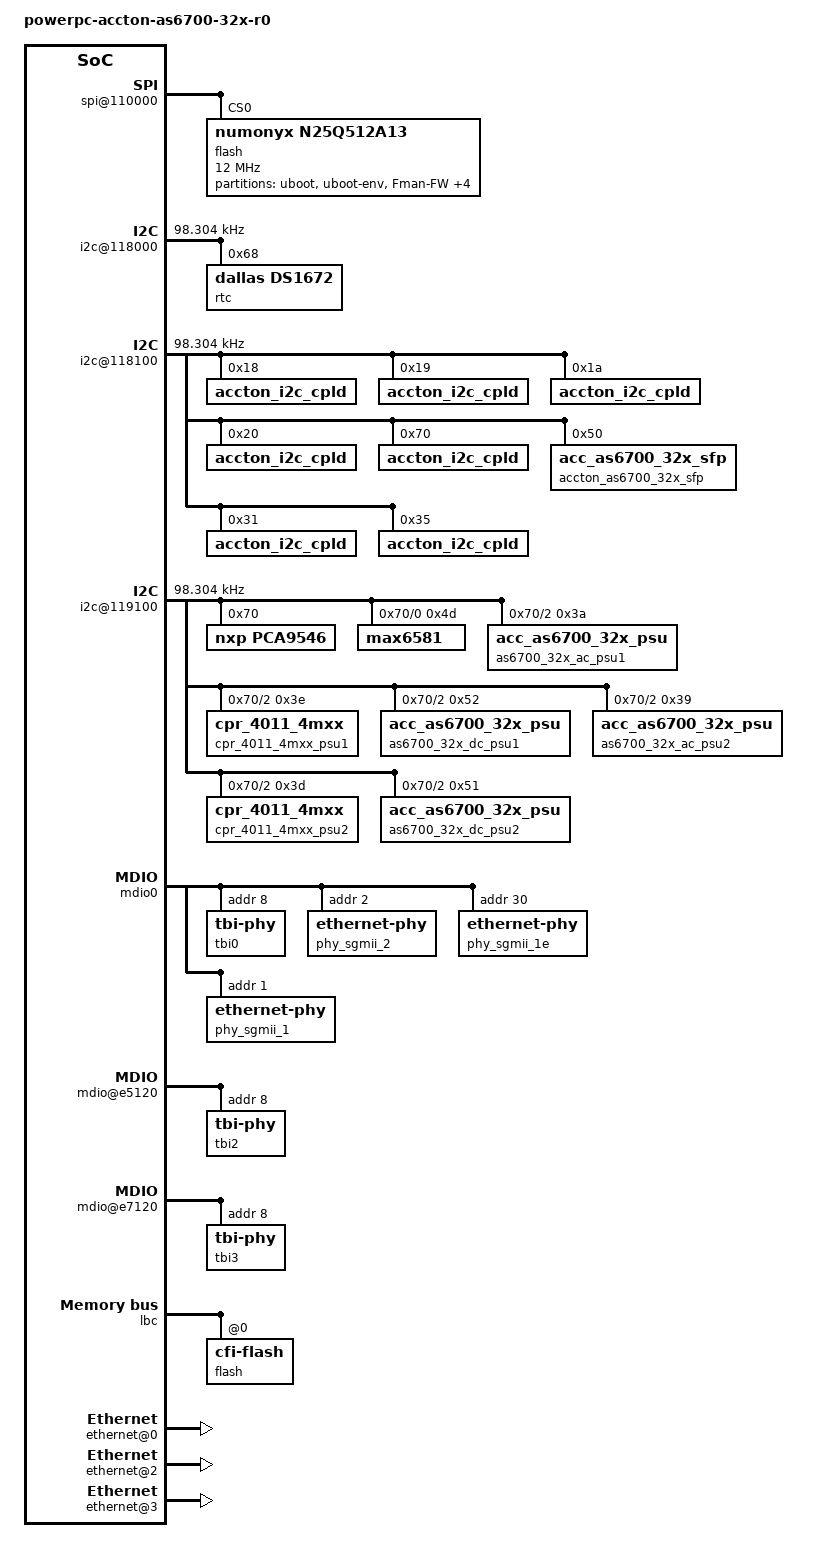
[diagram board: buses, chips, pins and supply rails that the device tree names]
/*
 * P2041RDB Device Tree Source
 *
 * Copyright 2011-2012 Freescale Semiconductor Inc.
 *
 * Redistribution and use in source and binary forms, with or without
 * modification, are permitted provided that the following conditions are met:
 *     * Redistributions of source code must retain the above copyright
 *	 notice, this list of conditions and the following disclaimer.
 *     * Redistributions in binary form must reproduce the above copyright
 *	 notice, this list of conditions and the following disclaimer in the
 *	 documentation and/or other materials provided with the distribution.
 *     * Neither the name of Freescale Semiconductor nor the
 *	 names of its contributors may be used to endorse or promote products
 *	 derived from this software without specific prior written permission.
 *
 *
 * ALTERNATIVELY, this software may be distributed under the terms of the
 * GNU General Public License ("GPL") as published by the Free Software
 * Foundation, either version 2 of that License or (at your option) any
 * later version.
 *
 * THIS SOFTWARE IS PROVIDED BY Freescale Semiconductor ``AS IS'' AND ANY
 * EXPRESS OR IMPLIED WARRANTIES, INCLUDING, BUT NOT LIMITED TO, THE IMPLIED
 * WARRANTIES OF MERCHANTABILITY AND FITNESS FOR A PARTICULAR PURPOSE ARE
 * DISCLAIMED. IN NO EVENT SHALL Freescale Semiconductor BE LIABLE FOR ANY
 * DIRECT, INDIRECT, INCIDENTAL, SPECIAL, EXEMPLARY, OR CONSEQUENTIAL DAMAGES
 * (INCLUDING, BUT NOT LIMITED TO, PROCUREMENT OF SUBSTITUTE GOODS OR SERVICES;
 * LOSS OF USE, DATA, OR PROFITS; OR BUSINESS INTERRUPTION) HOWEVER CAUSED AND
 * ON ANY THEORY OF LIABILITY, WHETHER IN CONTRACT, STRICT LIABILITY, OR TORT
 * (INCLUDING NEGLIGENCE OR OTHERWISE) ARISING IN ANY WAY OUT OF THE USE OF THIS
 * SOFTWARE, EVEN IF ADVISED OF THE POSSIBILITY OF SUCH DAMAGE.
 */

/include/ "fsl/as6700_32x-pre.dtsi"

/ {
	model = "powerpc-accton-as6700-32x-r0";
	compatible = "accton,as6700_32x";
	#address-cells = <2>;
	#size-cells = <2>;
	interrupt-parent = <&mpic>;

	aliases {
        ethernet0 = &enet3;
        ethernet2 = &enet2;
        phy_sgmii_2 = &phy_sgmii_2;
        phy_sgmii_1e = &phy_sgmii_1e;
        phy_sgmii_1 = &phy_sgmii_1;
	};

	memory {
		device_type = "memory";
	};

	dcsr: dcsr@f00000000 {
		ranges = <0x00000000 0xf 0x00000000 0x01008000>;
	};

	bportals: bman-portals@ff4000000 {
		ranges = <0x0 0xf 0xf4000000 0x200000>;
	};

	qportals: qman-portals@ff4200000 {
		ranges = <0x0 0xf 0xf4200000 0x200000>;
	};

	soc: soc@ffe000000 {
		ranges = <0x00000000 0xf 0xfe000000 0x1000000>;
		reg = <0xf 0xfe000000 0 0x00001000>;

        spi@110000 {
            flash@0 {
                #address-cells = <1>;
                #size-cells = <1>;
                compatible = "numonyx,n25q512a13";
                reg = <0>;
                spi-max-frequency = <12000000>; /* input clock */
                partition@uboot {
                    label = "uboot";
                    reg = <0x00000000 0x00100000>;
                };
                partition@uboot-env {
                    label = "uboot-env";
                    reg = <0x00100000 0x00010000>;
                    env_size = <0x2000>;
                };
                partition@Fman-FW {
                    label = "Fman-FW";
                    reg = <0x00110000 0x00010000>;
                    read-only;
                };
                partition@hw-info {
                    label = "hw-info";
                    reg = <0x00120000 0x00010000>;
                    read-only;
                };
                partition@onie {
                    label = "onie";
                    reg = <0x00130000 0x00800000>;
                };
                partition@diag {
                    label = "diag";
                    reg = <0x00930000 0x01600000>;
                };
                partition@reserved {
                    label = "reserved";
                    reg = <0x01f30000 0x020d0000>;
                };
            };
        };

		i2c@118000 {
                        clock-frequency = <0x18000>;
			rtc@68 {
				compatible = "dallas,ds1672";
				reg = <0x68>;
			};
		};

		i2c@118100 {
                	clock-frequency = <0x18000>;
			accton_i2c_cpld@18 {
				compatible = "accton_i2c_cpld";
				reg = <0x18>;
			};
			accton_i2c_cpld@19 {
				compatible = "accton_i2c_cpld";
				reg = <0x19>;
			};
			accton_i2c_cpld@1a {
				compatible = "accton_i2c_cpld";
				reg = <0x1a>;
			};
			accton_i2c_cpld@20 {
				compatible = "accton_i2c_cpld";
				reg = <0x20>;
			};
			accton_i2c_cpld@70 {
				compatible = "accton_i2c_cpld";
				reg = <0x70>;
			};
			accton_as6700_32x_sfp@50 {
				compatible = "acc_as6700_32x_sfp";
				reg = <0x50>;
			};
			accton_i2c_cpld@31 {
				compatible = "accton_i2c_cpld";
				reg = <0x31>;
			};
			accton_i2c_cpld@35 {
				compatible = "accton_i2c_cpld";
				reg = <0x35>;
			};
		};

		i2c@119000 {
		    clock-frequency = <0x18000>;
		};

		i2c@119100 {
		    clock-frequency = <0x18000>;
			pca9546@70 {
				compatible = "nxp,pca9546";
				reg = <0x70>;
				#address-cells = <1>;
				#size-cells = <0>;

				i2c@0 {
					#address-cells = <1>;
					#size-cells = <0>;
					reg = <0>;

					max6581@4d {
						compatible = "max6581";
						reg = <0x4d>;
					};
                };

				i2c@2 {
					#address-cells = <1>;
					#size-cells = <0>;
					reg = <2>;

                    as6700_32x_ac_psu1@3a {
                        compatible = "acc_as6700_32x_psu";
                        reg = <0x3a>;
                    };
                    cpr_4011_4mxx_psu1@3e {
                        compatible = "cpr_4011_4mxx";
                        reg = <0x3e>;
                    };
                    as6700_32x_dc_psu1@52 {
                        compatible = "acc_as6700_32x_psu";
                        reg = <0x52>;
                    };

                    as6700_32x_ac_psu2@39 {
                        compatible = "acc_as6700_32x_psu";
                        reg = <0x39>;
                    };
                    cpr_4011_4mxx_psu2@3d {
                        compatible = "cpr_4011_4mxx";
                        reg = <0x3d>;
                    };
                    as6700_32x_dc_psu2@51 {
                        compatible = "acc_as6700_32x_psu";
                        reg = <0x51>;
                    };
				};
			};
		};

		usb1: usb@211000 {
			dr_mode = "host";
		};

		fman0: fman@400000 {
			enet0: ethernet@e0000 {
				tbi-handle = <&tbi0>;
				phy-handle = <&phy_sgmii_2>;
				phy-connection-type = "sgmii";
			};

			mdio0: mdio@e1120 {
				tbi0: tbi-phy@8 {
					reg = <0x8>;
					device_type = "tbi-phy";
				};
				phy_sgmii_2: ethernet-phy@2 {
					reg = <0x2>;
				};
                                phy_sgmii_1e: ethernet-phy@1e {
                                        reg = <0x1e>;
                                };
                                phy_sgmii_1: ethernet-phy@1 {
                                        reg = <0x1>;
                                };
                       };

                       enet2: ethernet@e4000 {
                           tbi-handle = <&tbi2>;
                           phy-handle = <&phy_sgmii_1e>;
                           phy-connection-type = "sgmii";
                       };

                       mdio@e5120 {
                           tbi2: tbi-phy@8 {
                               reg = <8>;
                               device_type = "tbi-phy";
        		   };
                       };

                       enet3: ethernet@e6000 {
                           tbi-handle = <&tbi3>;
                               phy-handle = <&phy_sgmii_1>;
                               phy-connection-type = "sgmii";
                           };

	                   mdio@e7120 {
			       tbi3: tbi-phy@8 {
			       reg = <8>;
                               device_type = "tbi-phy";
                           };
                       };

		};
	};

	rio: rapidio@ffe0c0000 {
		reg = <0xf 0xfe0c0000 0 0x11000>;

		port1 {
			ranges = <0 0 0xc 0x20000000 0 0x10000000>;
		};
		port2 {
			ranges = <0 0 0xc 0x30000000 0 0x10000000>;
		};
	};


	lbc: localbus@ffe124000 {

		reg = <0xf 0xfe124000 0 0x1000>;
		ranges = <0 0 0xf 0xec000000 0x04000000>;

        flash@0,0 {
            #address-cells = <1>;
            #size-cells = <1>;
            compatible = "cfi-flash";
            reg = <0 0 0x04000000>;
            bank-width = <2>;
            device-width = <2>;
        };
	};

	pci0: pcie@ffe200000 {
		reg = <0xf 0xfe200000 0 0x1000>;
		ranges = <0x02000000 0x0 0xd0000000
                  0x0 0xd0000000
                  0x0 0x08000000

			      0x01000000 0x0 0x00000000
                  0x0 0xf8000000
                  0x0 0x00010000>;
		pcie@0 {
            ranges = <0x02000000 0 0xe0000000
                      0x02000000 0 0xe0000000
				      0 0x08000000

				      0x01000000 0 0x00000000
                      0x01000000 0 0x00000000
				      0 0x00010000>;
		};
	};

	pci1: pcie@ffe201000 {
		reg = <0xf 0xfe201000 0 0x1000>;
		ranges = <0x02000000 0x0 0xd8000000
                  0x0 0xd8000000
                  0x0 0x08000000

			      0x01000000 0x0 0x00000000
                  0x0 0xf8010000
                  0x0 0x00010000>;
		pcie@0 {
            ranges = <0x02000000 0 0xe0000000
                      0x02000000 0 0xe0000000
				      0 0x08000000

				      0x01000000 0 0x00000000
                      0x01000000 0 0x00000000
				      0 0x00010000>;
		};
	};

	pci2: pcie@ffe202000 {
		reg = <0xf 0xfe202000 0 0x1000>;
		ranges = <0x02000000 0x0 0xe0000000
                  0x0 0xe0000000
                  0x0 0x08000000

			      0x01000000 0x0 0x00000000
                  0x0 0xf8020000
                  0x0 0x00010000>;

		pcie@0 {
			ranges = <0x02000000 0 0xe0000000
				      0x02000000 0 0xe0000000
				      0 0x08000000

				      0x01000000 0 0x00000000
                      0x01000000 0 0x00000000
				      0 0x00010000>;
		};
	};

	fsl,dpaa {
		compatible = "fsl,p2041-dpaa", "fsl,dpaa";

		ethernet@0 {
			compatible = "fsl,p2041-dpa-ethernet", "fsl,dpa-ethernet";
            fsl,fman-mac = <&enet0>;
		};
        ethernet@2 {
			compatible = "fsl,p2041-dpa-ethernet", "fsl,dpa-ethernet";
            fsl,fman-mac = <&enet2>;
        };
        ethernet@3 {
            compatible = "fsl,p2041-dpa-ethernet", "fsl,dpa-ethernet";
            fsl,fman-mac = <&enet3>;
		};
	};
};

/include/ "fsl/as6700_32x-post.dtsi"

/include/ "fsl/qoriq-dpaa-res1.dtsi"
